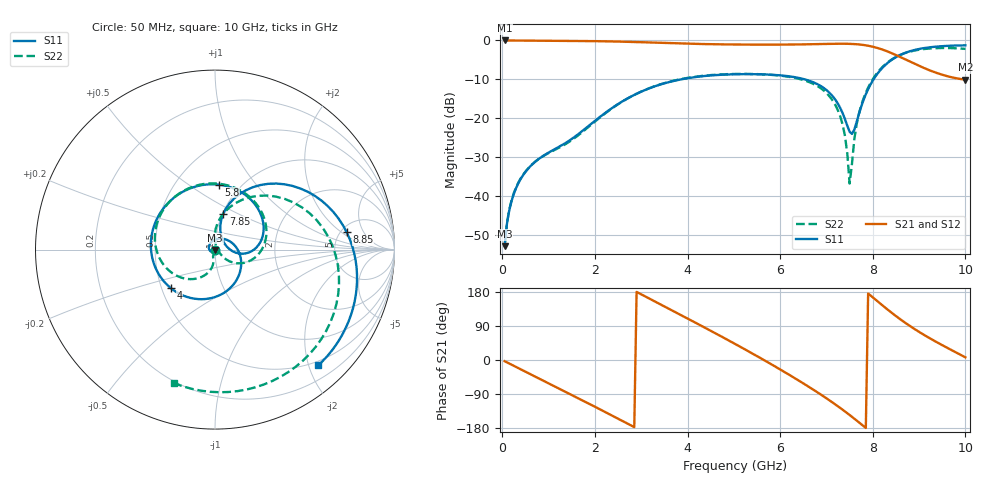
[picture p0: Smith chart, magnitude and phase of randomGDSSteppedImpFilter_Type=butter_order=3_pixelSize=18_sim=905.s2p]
! freq	dB(S11)	phase(S11)	dB(S12)	phase(S12)
!  dB(S21)	phase(S21)	dB(S22)	phase(S22)
!S-par simulation data
#  GHz  S  DB  R 50
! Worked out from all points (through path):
!   200 points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, 50 MHz to 10 GHz, reference 50 ohm
!   highest |S21| = -0.01 dB at 50 MHz (marker M1); lowest = -10.1 dB at 10 GHz (marker M2)
!   group delay of S21, straight-line fit = 200 ps
!   lowest |S11| = -52.9 dB at 50 MHz (marker M3), VSWR 1.00, Z = 50 - j0.225 ohm
!   |S11| at or under -10 dB: start of sweep to 3.865 GHz; 6.528 GHz to 8.017 GHz (1.489 GHz wide, 20.5 % of centre)
!   |S22| runs from -52.9 to -1.9 dB; largest |S21 - S12| = 0
!   S11 on the Smith chart (normalised r, x): 50 MHz: 1.00, -0.00; 4 GHz: 0.56, -0.27; 5.8 GHz: 0.80, +0.67; 7.85 GHz: 1.01, +0.42; 8.85 GHz: 5.64, +2.41; 10 GHz: 0.42, -2.16
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0.05  -52.89 -83.0  -0.01 -3.1  -0.01 -3.1  -52.86 -79.1
0.2  -41.27 -106.6  -0.02 -12.3  -0.02 -12.3  -41.10 -92.1
0.45  -34.62 -134.0  -0.04 -27.6  -0.04 -27.6  -34.50 -99.8
1.15  -27.85 142.3  -0.09 -70.5  -0.09 -70.5  -28.05 -105.7
1.75  -23.07 61.0  -0.15 -107.7  -0.15 -107.7  -23.33 -97.3
2.6  -15.62 -28.1  -0.32 -161.2  -0.32 -161.2  -15.66 -114.8
3.4  -11.38 -93.7  -0.61 147.8  -0.61 147.8  -11.33 -151.1
4  -9.71 -139.1  -0.83 109.5  -0.83 109.5  -9.63 177.8
4.5  -9.00 -176.4  -0.97 77.2  -0.97 77.2  -8.91 150.4
5.05  -8.69 142.6  -1.05 40.9  -1.05 40.9  -8.61 118.8
5.8  -8.81 86.6  -1.08 -10.7  -1.08 -10.7  -8.84 71.9
6.25  -9.32 53.7  -1.05 -43.0  -1.05 -43.0  -9.47 41.0
6.7  -10.68 22.1  -0.97 -77.0  -0.97 -77.0  -11.07 7.6
7.3  -17.42 -9.2  -0.85 -126.8  -0.85 -126.8  -19.62 -38.8
7.4  -20.24 -5.0  -0.85 -135.8  -0.85 -135.8  -24.58 -42.4
7.5  -23.47 15.4  -0.88 -145.1  -0.88 -145.1  -36.80 0.8
7.65  -21.04 67.8  -0.97 -159.5  -0.97 -159.5  -21.65 90.8
7.85  -13.83 77.1  -1.26 -179.5  -1.26 -179.5  -13.41 75.9
8.35  -5.50 43.3  -2.98 130.1  -2.98 130.1  -5.37 25.9
8.85  -2.61 7.5  -5.71 85.8  -5.71 85.8  -2.73 -20.0
9.45  -1.51 -25.4  -8.63 42.5  -8.63 42.5  -1.95 -66.4
10  -1.26 -48.3  -10.08 7.0  -10.08 7.0  -2.18 -107.1
